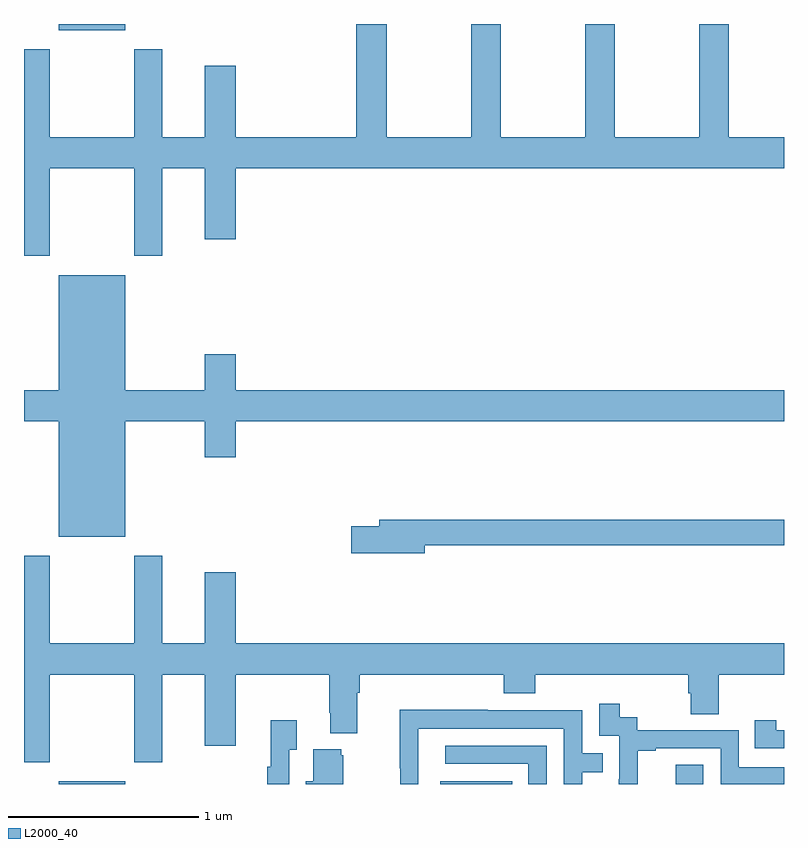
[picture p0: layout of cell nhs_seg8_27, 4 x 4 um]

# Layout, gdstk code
import gdstk
lib = gdstk.Library(unit=1e-6, precision=1e-09)
def R(c, l, rs):  # rectangles x0, y0, x1, y1
    for r in rs: c.add(gdstk.rectangle(r[:2], r[2:], *l))
def P(c, l, *ps):  # polygons
    for p in ps: c.add(gdstk.Polygon(p, *l))
L2000_40 = (2000, 40)

nhs_seg8_27 = lib.new_cell('nhs_seg8_27')
R(nhs_seg8_27, L2000_40, [(111.182,1139.9,111.532,1139.914), (113.192,1139.9,113.57,1139.914), (114.429,1139.9,114.576,1140.001), (111.182,1143.866,111.532,1143.9)])
P(nhs_seg8_27, L2000_40, [(111.135,1143.14),(111.58,1143.14),(111.58,1142.679),(111.727,1142.679),(111.727,1143.14),(111.95,1143.14),(111.95,1142.766),(112.114,1142.766),(112.114,1143.14),(115,1143.14),(115,1143.304),(114.708,1143.304),(114.708,1143.9),(114.553,1143.9),(114.553,1143.304),(114.108,1143.304),(114.108,1143.9),(113.953,1143.9),(113.953,1143.304),(113.508,1143.304),(113.508,1143.9),(113.353,1143.9),(113.353,1143.304),(112.908,1143.304),(112.908,1143.9),(112.748,1143.9),(112.748,1143.304),(112.114,1143.304),(112.114,1143.679),(111.95,1143.679),(111.95,1143.304),(111.727,1143.304),(111.727,1143.766),(111.58,1143.766),(111.58,1143.304),(111.135,1143.304),(111.135,1143.766),(111,1143.766),(111,1142.679),(111.135,1142.679)],
  [(111.532,1141.808),(111.95,1141.808),(111.95,1141.62),(112.114,1141.62),(112.114,1141.808),(115,1141.808),(115,1141.972),(112.114,1141.972),(112.114,1142.161),(111.95,1142.161),(111.95,1141.972),(111.532,1141.972),(111.532,1142.578),(111.182,1142.578),(111.182,1141.972),(111,1141.972),(111,1141.808),(111.182,1141.808),(111.182,1141.202),(111.532,1141.202)],
  [(113.11,1141.156),(115,1141.156),(115,1141.292),(112.871,1141.292),(112.871,1141.256),(112.722,1141.256),(112.722,1141.114),(113.11,1141.114)],
  [(111.135,1140.476),(111.58,1140.476),(111.58,1140.015),(111.727,1140.015),(111.727,1140.476),(111.95,1140.476),(111.95,1140.102),(112.114,1140.102),(112.114,1140.476),(112.606,1140.476),(112.606,1140.274),(112.613,1140.274),(112.613,1140.167),(112.753,1140.167),(112.753,1140.38),(112.766,1140.38),(112.766,1140.476),(113.525,1140.476),(113.525,1140.377),(113.69,1140.377),(113.69,1140.476),(114.497,1140.476),(114.497,1140.378),(114.509,1140.378),(114.509,1140.268),(114.657,1140.268),(114.657,1140.476),(115,1140.476),(115,1140.64),(112.114,1140.64),(112.114,1141.015),(111.95,1141.015),(111.95,1140.64),(111.727,1140.64),(111.727,1141.102),(111.58,1141.102),(111.58,1140.64),(111.135,1140.64),(111.135,1141.102),(111,1141.102),(111,1140.015),(111.135,1140.015)],
  [(114.23,1140.075),(114.325,1140.075),(114.325,1140.087),(114.666,1140.087),(114.666,1139.9),(115,1139.9),(115,1139.988),(114.762,1139.988),(114.762,1140.183),(114.228,1140.183),(114.228,1140.252),(114.136,1140.252),(114.136,1140.322),(114.027,1140.322),(114.027,1140.153),(114.132,1140.153),(114.132,1139.924),(114.131,1139.924),(114.131,1139.9),(114.23,1139.9)],
  [(113.076,1140.192),(113.841,1140.192),(113.841,1139.9),(113.937,1139.9),(113.937,1139.962),(114.047,1139.962),(114.047,1140.063),(113.937,1140.063),(113.937,1140.288),(113.441,1140.288),(113.441,1140.29),(112.978,1140.29),(112.978,1139.983),(112.98,1139.983),(112.98,1139.9),(113.076,1139.9)],
  [(112.395,1140.079),(112.435,1140.079),(112.435,1140.235),(112.298,1140.235),(112.298,1139.99),(112.279,1139.99),(112.279,1139.9),(112.395,1139.9)],
  [(115,1140.183),(114.958,1140.183),(114.958,1140.235),(114.847,1140.235),(114.847,1140.087),(115,1140.087)],
  [(113.751,1140.102),(113.217,1140.102),(113.217,1140.006),(113.655,1140.006),(113.655,1139.9),(113.751,1139.9)],
  [(112.681,1140.051),(112.67,1140.051),(112.67,1140.082),(112.523,1140.082),(112.523,1139.914),(112.484,1139.914),(112.484,1139.9),(112.681,1139.9)])

lib.write_gds('nhs_seg8_27.gds')
